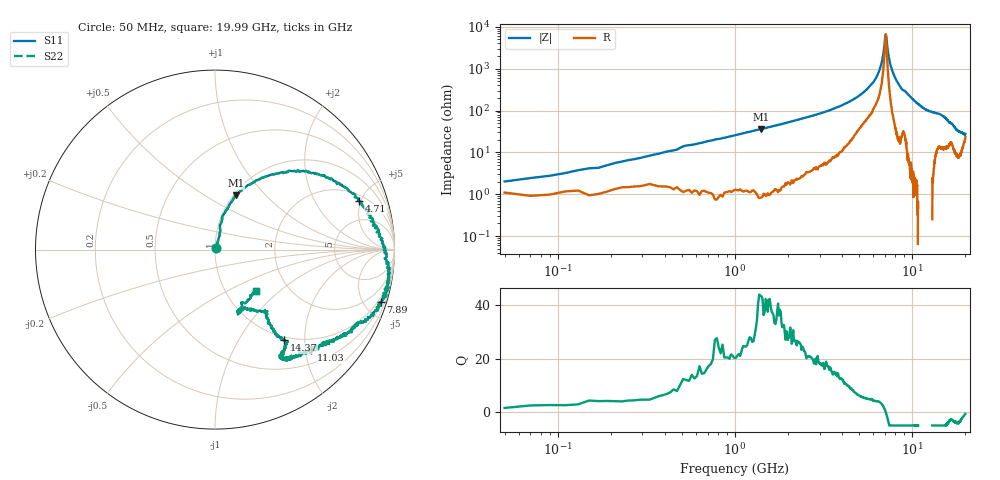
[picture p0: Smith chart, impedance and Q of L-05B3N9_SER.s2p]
! Data Taken on a HP 8720C VNA using a series-through fixture with TRL* de-embedding
#	mhz	s	ma	r	50
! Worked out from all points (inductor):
!   998 points, 50 MHz to 19.99 GHz, reference 50 ohm
!   read as one part in series: L = 4.04 nH near 150 MHz
!   highest Q = 40.1 at 1.41 GHz (marker M1), where L = 4.09 nH
!   self-resonance near 7.09 GHz
!   S11 on the Smith chart (normalised r, x): 50 MHz: 1.02, +0.02; 4.71 GHz: 2.51, +4.82; 7.89 GHz: 0.68, -6.38; 11.03 GHz: 0.76, -2.11; 14.37 GHz: 0.95, -1.60; 19.99 GHz: 1.37, -0.71
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50  0.01262 51.2  0.986 -1.3  0.986 -1.3  0.01262 51.2
230  0.05477 71.8  0.9837 -3.6  0.9837 -3.6  0.05477 71.8
530  0.1333 77.8  0.9752 -8.7  0.9752 -8.7  0.1333 77.8
1410  0.3232 69.0  0.9291 -20.9  0.9291 -20.9  0.3232 69.0
3390  0.6733 39.8  0.6964 -46.5  0.6964 -46.5  0.6733 39.8
4710  0.8469 18.7  0.4612 -63.2  0.4612 -63.2  0.8469 18.7
6070  0.954 -3.4  0.197 -79.7  0.197 -79.7  0.954 -3.4
6710  0.9788 -8.8  0.07363 -81.0  0.07363 -81.0  0.9788 -8.8
6870  0.9849 -10.2  0.04475 -75.6  0.04475 -75.6  0.9849 -10.2
7050  0.9826 -11.6  0.01702 -39.2  0.01702 -39.2  0.9826 -11.6
7110  0.981 -11.8  0.01479 -1.2  0.01479 -1.2  0.981 -11.8
7450  0.9828 -14.2  0.06228 64.9  0.06228 64.9  0.9828 -14.2
7890  0.9683 -17.6  0.1349 67.9  0.1349 67.9  0.9683 -17.6
8670  0.9178 -25.8  0.2587 61.2  0.2587 61.2  0.9178 -25.8
10030  0.8563 -34.7  0.4286 55.5  0.4286 55.5  0.8563 -34.7
11030  0.7736 -46.3  0.5443 47.0  0.5443 47.0  0.7736 -46.3
12370  0.7162 -58.6  0.6381 36.6  0.6381 36.6  0.7162 -58.6
13350  0.6798 -56.0  0.6744 31.3  0.6744 31.3  0.6798 -56.0
14370  0.6342 -52.5  0.7007 28.5  0.7007 28.5  0.6342 -52.5
16670  0.4401 -50.5  0.8172 18.2  0.8172 18.2  0.4401 -50.5
18210  0.3641 -69.0  0.8754 9.8  0.8754 9.8  0.3641 -69.0
19990  0.3248 -45.9  0.8337 -1.7  0.8337 -1.7  0.3248 -45.9
